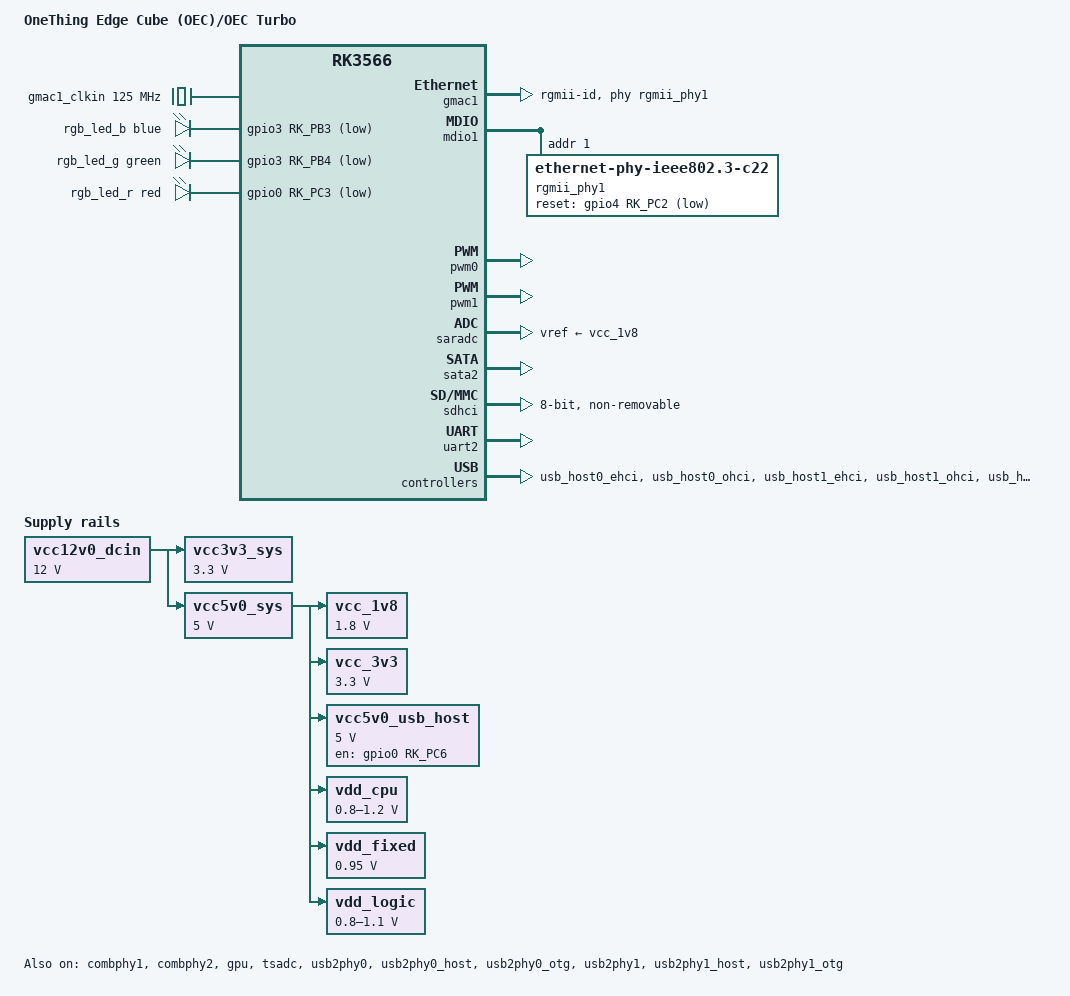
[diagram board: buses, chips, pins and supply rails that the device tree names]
// SPDX-License-Identifier: (GPL-2.0+ OR MIT)

/dts-v1/;

#include <dt-bindings/gpio/gpio.h>
#include <dt-bindings/leds/common.h>
#include <dt-bindings/pinctrl/rockchip.h>
#include <dt-bindings/pwm/pwm.h>
#include "rk3566.dtsi"

/ {
	model = "OneThing Edge Cube (OEC)/OEC Turbo";
	compatible = "onething,edge-cube", "rockchip,rk3566";

	aliases {
		ethernet0 = &gmac1;
		mmc0 = &sdhci;
	};

	chosen: chosen {
		stdout-path = "serial2:1500000n8";
	};

	gmac1_clkin: external-gmac1-clock {
		compatible = "fixed-clock";
		clock-frequency = <125000000>;
		clock-output-names = "gmac1_clkin";
		#clock-cells = <0>;
	};

	leds {
		compatible = "gpio-leds";

		rgb_led_b: led-0 {
			color = <LED_COLOR_ID_BLUE>;
			default-state = "off";
			function = LED_FUNCTION_STATUS;
			gpios = <&gpio3 RK_PB3 GPIO_ACTIVE_LOW>;
			pinctrl-names = "default";
			pinctrl-0 = <&rgb_led_b_enable_l>;
		};

		rgb_led_g: led-1 {
			color = <LED_COLOR_ID_GREEN>;
			default-state = "on";
			function = LED_FUNCTION_STATUS;
			gpios = <&gpio3 RK_PB4 GPIO_ACTIVE_LOW>;
			pinctrl-names = "default";
			pinctrl-0 = <&rgb_led_g_enable_l>;
		};

		rgb_led_r: led-2 {
			color = <LED_COLOR_ID_RED>;
			default-state = "off";
			function = LED_FUNCTION_STATUS;
			gpios = <&gpio0 RK_PC3 GPIO_ACTIVE_LOW>;
			pinctrl-names = "default";
			pinctrl-0 = <&rgb_led_r_enable_l>;
		};
	};

	vcc_1v8: regulator-vcc-1v8 {
		compatible = "regulator-fixed";
		regulator-name = "vcc_1v8";
		regulator-always-on;
		regulator-boot-on;
		regulator-min-microvolt = <1800000>;
		regulator-max-microvolt = <1800000>;
		vin-supply = <&vcc5v0_sys>;
	};

	vcc_3v3: regulator-vcc-3v3 {
		compatible = "regulator-fixed";
		regulator-name = "vcc_3v3";
		regulator-always-on;
		regulator-boot-on;
		regulator-min-microvolt = <3300000>;
		regulator-max-microvolt = <3300000>;
		vin-supply = <&vcc5v0_sys>;
	};

	vcc12v0_dcin: regulator-vcc12v0-dcin {
		compatible = "regulator-fixed";
		regulator-name = "vcc12v0_dcin";
		regulator-always-on;
		regulator-boot-on;
		regulator-min-microvolt = <12000000>;
		regulator-max-microvolt = <12000000>;
	};

	vcc3v3_sys: regulator-vcc3v3-sys {
		compatible = "regulator-fixed";
		regulator-name = "vcc3v3_sys";
		regulator-always-on;
		regulator-boot-on;
		regulator-min-microvolt = <3300000>;
		regulator-max-microvolt = <3300000>;
		vin-supply = <&vcc12v0_dcin>;
	};

	vcc5v0_sys: regulator-vcc5v0-sys {
		compatible = "regulator-fixed";
		regulator-name = "vcc5v0_sys";
		regulator-always-on;
		regulator-boot-on;
		regulator-min-microvolt = <5000000>;
		regulator-max-microvolt = <5000000>;
		vin-supply = <&vcc12v0_dcin>;
	};

	vcc5v0_usb_host: regulator-vcc5v0-usb-host {
		compatible = "regulator-fixed";
		enable-active-high;
		gpios = <&gpio0 RK_PC6 GPIO_ACTIVE_HIGH>;
		pinctrl-names = "default";
		pinctrl-0 = <&vcc5v0_usb_host_en>;
		regulator-name = "vcc5v0_usb_host";
		regulator-min-microvolt = <5000000>;
		regulator-max-microvolt = <5000000>;
		vin-supply = <&vcc5v0_sys>;
	};

	vdd_cpu: regulator-vdd-cpu {
		compatible = "pwm-regulator";
		pwms = <&pwm0 0 5000 PWM_POLARITY_INVERTED>;
		regulator-always-on;
		regulator-boot-on;
		regulator-name = "vdd_cpu";
		regulator-min-microvolt = <800000>;
		regulator-max-microvolt = <1200000>;
		regulator-settling-time-up-us = <250>;
		pwm-supply = <&vcc5v0_sys>;
	};

	vdd_fixed: regulator-vdd-fixed {
		compatible = "regulator-fixed";
		regulator-always-on;
		regulator-boot-on;
		regulator-name = "vdd_fixed";
		regulator-min-microvolt = <950000>;
		regulator-max-microvolt = <950000>;
		vin-supply = <&vcc5v0_sys>;
	};

	vdd_logic: regulator-vdd-logic {
		compatible = "pwm-regulator";
		pwms = <&pwm1 0 5000 PWM_POLARITY_INVERTED>;
		regulator-name = "vdd_logic";
		regulator-always-on;
		regulator-boot-on;
		regulator-min-microvolt = <800000>;
		regulator-max-microvolt = <1100000>;
		regulator-settling-time-up-us = <250>;
		pwm-supply = <&vcc5v0_sys>;
	};
};


/* No hardware video output port */
&display_subsystem {
	status = "disabled";
};

&combphy1 {
	status = "okay";
};

&combphy2 {
	status = "okay";
};

&cpu0 {
	cpu-supply = <&vdd_cpu>;
};

&cpu1 {
	cpu-supply = <&vdd_cpu>;
};

&cpu2 {
	cpu-supply = <&vdd_cpu>;
};

&cpu3 {
	cpu-supply = <&vdd_cpu>;
};

&gmac1 {
	assigned-clocks = <&cru SCLK_GMAC1_RX_TX>, <&cru SCLK_GMAC1>;
	assigned-clock-parents = <&cru SCLK_GMAC1_RGMII_SPEED>, <&gmac1_clkin>;
	clock_in_out = "input";
	phy-handle = <&rgmii_phy1>;
	phy-mode = "rgmii-id";
	pinctrl-names = "default";
	pinctrl-0 = <&gmac1m1_miim
		    &gmac1m1_tx_bus2
		    &gmac1m1_rx_bus2
		    &gmac1m1_rgmii_clk
		    &gmac1m1_rgmii_bus
		    &gmac1m1_clkinout>;
	status = "okay";
};

&gpu {
	status = "okay";
};

&mdio1 {
	rgmii_phy1: ethernet-phy@1 {
		compatible = "ethernet-phy-ieee802.3-c22";
		reg = <0x1>;
		reset-assert-us = <20000>;
		reset-deassert-us = <100000>;
		reset-gpios = <&gpio4 RK_PC2 GPIO_ACTIVE_LOW>;
	};
};

&pinctrl {
	gmac {
		eth_phy_reset_pin: eth-phy-reset-pin {
			rockchip,pins = <4 RK_PC2 RK_FUNC_GPIO &pcfg_pull_up>;
		};
	};

	leds {
		rgb_led_b_enable_l: rgb-led-b-enable-l {
			rockchip,pins = <3 RK_PB3 RK_FUNC_GPIO &pcfg_pull_none>;
		};

		rgb_led_g_enable_l: rgb-led-g-enable-l {
			rockchip,pins = <3 RK_PB4 RK_FUNC_GPIO &pcfg_pull_none>;
		};

		rgb_led_r_enable_l: rgb-led-r-enable-l {
			rockchip,pins = <0 RK_PC3 RK_FUNC_GPIO &pcfg_pull_none>;
		};
	};

	usb {
		vcc5v0_usb_host_en: vcc5v0-usb-host-en {
			rockchip,pins = <0 RK_PC6 RK_FUNC_GPIO &pcfg_pull_none>;
		};
	};
};

&pmu_io_domains {
	pmuio1-supply = <&vcc_3v3>;
	pmuio2-supply = <&vcc_3v3>;
	vccio1-supply = <&vcc_1v8>;
	vccio3-supply = <&vcc_3v3>;
	vccio4-supply = <&vcc_1v8>;
	vccio5-supply = <&vcc_3v3>;
	vccio6-supply = <&vcc_1v8>;
	vccio7-supply = <&vcc_3v3>;
	status = "okay";
};

&pwm0 {
	status = "okay";
};

&pwm1 {
	status = "okay";
};

&saradc {
	vref-supply = <&vcc_1v8>;
	status = "okay";
};

&sata2 {
	status = "okay";
};

&sdhci {
	bus-width = <8>;
	cap-mmc-highspeed;
	mmc-hs200-1_8v;
	no-sd;
	no-sdio;
	non-removable;
	pinctrl-names = "default";
	pinctrl-0 = <&emmc_bus8 &emmc_clk &emmc_cmd &emmc_datastrobe>;
	status = "okay";
};

&tsadc {
	rockchip,hw-tshut-mode = <1>;
	rockchip,hw-tshut-polarity = <0>;
	status = "okay";
};

&uart2 {
	status = "okay";
};

&usb_host0_ehci {
	status = "okay";
};

&usb_host0_ohci {
	status = "okay";
};

&usb_host1_ehci {
	status = "okay";
};

&usb_host1_ohci {
	status = "okay";
};

&usb_host1_xhci  {
	status = "okay";
};

&usb2phy0 {
	status = "okay";
};

&usb2phy0_host {
	phy-supply = <&vcc5v0_usb_host>;
	status = "okay";
};

&usb2phy0_otg {
	status = "okay";
};

&usb2phy1 {
	status = "okay";
};

&usb2phy1_host {
	phy-supply = <&vcc5v0_usb_host>;
	status = "okay";
};

&usb2phy1_otg {
	phy-supply = <&vcc5v0_usb_host>;
	status = "okay";
};
